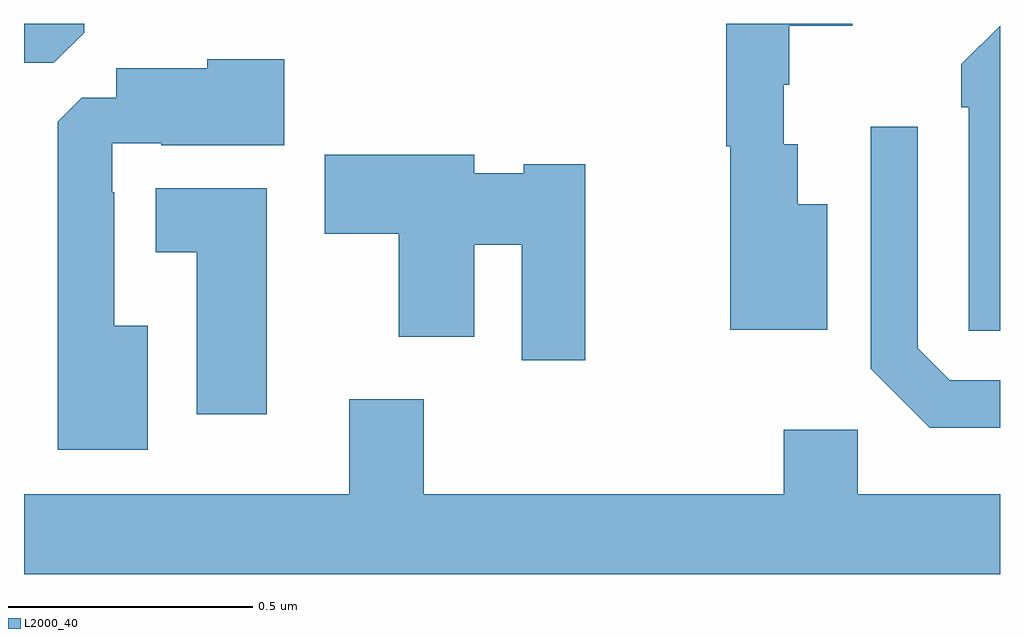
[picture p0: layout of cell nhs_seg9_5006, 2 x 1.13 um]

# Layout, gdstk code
import gdstk
lib = gdstk.Library(unit=1e-6, precision=1e-09)
def P(c, l, *ps):  # polygons
    for p in ps: c.add(gdstk.Polygon(p, *l))
L2000_40 = (2000, 40)

nhs_seg9_5006 = lib.new_cell('nhs_seg9_5006')
P(nhs_seg9_5006, L2000_40, [(174.646,1245.13),(174.586,1245.13),(174.586,1245.253),(174.557,1245.253),(174.557,1245.375),(174.568,1245.375),(174.568,1245.496),(174.697,1245.496),(174.697,1245.5),(174.439,1245.5),(174.439,1245.249),(174.447,1245.249),(174.447,1244.873),(174.646,1244.873)],
  [(173.123,1245.482),(173.123,1245.5),(173,1245.5),(173,1245.42),(173.061,1245.42)],
  [(175,1245.496),(174.921,1245.417),(174.921,1245.329),(174.936,1245.329),(174.936,1244.871),(175,1244.871)],
  [(173.254,1244.881),(173.185,1244.881),(173.185,1245.155),(173.181,1245.155),(173.181,1245.255),(173.281,1245.255),(173.281,1245.251),(173.533,1245.251),(173.533,1245.427),(173.376,1245.427),(173.376,1245.409),(173.189,1245.409),(173.189,1245.348),(173.118,1245.348),(173.069,1245.299),(173.069,1244.627),(173.254,1244.627)],
  [(175,1244.769),(174.897,1244.769),(174.831,1244.835),(174.831,1245.289),(174.735,1245.289),(174.735,1244.793),(174.856,1244.672),(175,1244.672)],
  [(174.15,1245.212),(174.024,1245.212),(174.024,1245.194),(173.923,1245.194),(173.923,1245.232),(173.616,1245.232),(173.616,1245.07),(173.768,1245.07),(173.768,1244.859),(173.923,1244.859),(173.923,1245.047),(174.02,1245.047),(174.02,1244.811),(174.15,1244.811)],
  [(173.497,1245.163),(173.27,1245.163),(173.27,1245.032),(173.354,1245.032),(173.354,1244.7),(173.497,1244.7)],
  [(175,1244.536),(174.708,1244.536),(174.708,1244.668),(174.557,1244.668),(174.557,1244.536),(173.819,1244.536),(173.819,1244.731),(173.666,1244.731),(173.666,1244.536),(173,1244.536),(173,1244.372),(175,1244.372)])

lib.write_gds('nhs_seg9_5006.gds')
